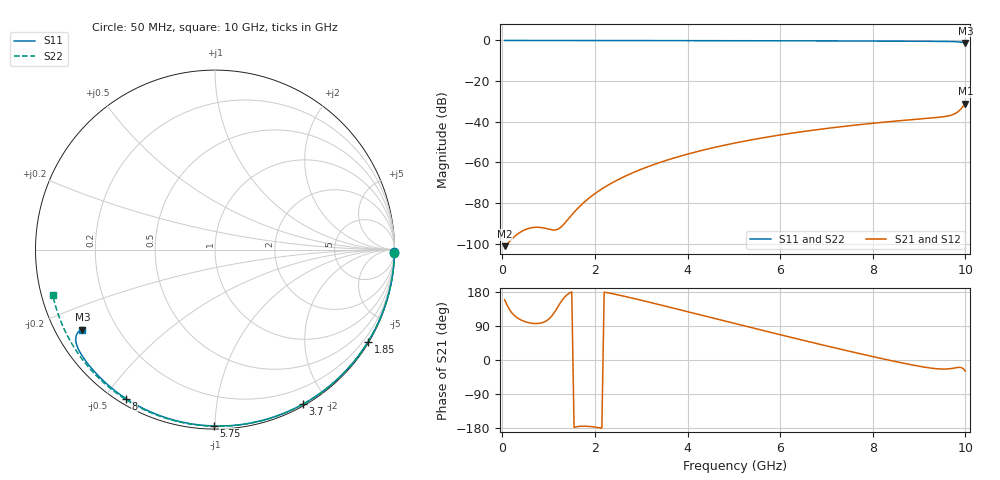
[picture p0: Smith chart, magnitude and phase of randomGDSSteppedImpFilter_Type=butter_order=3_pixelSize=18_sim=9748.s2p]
! freq	dB(S11)	phase(S11)	dB(S12)	phase(S12)
!  dB(S21)	phase(S21)	dB(S22)	phase(S22)
!S-par simulation data
#  GHz  S  DB  R 50
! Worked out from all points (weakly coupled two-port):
!   200 points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, 50 MHz to 10 GHz, reference 50 ohm
!   highest |S21| = -31.08 dB at 10 GHz (marker M1); lowest = -101.2 dB at 50 MHz (marker M2)
!   lowest |S11| = -1.3 dB at 10 GHz (marker M3), VSWR 13.65, Z = 3.95 - j13.9 ohm
!   |S11| at or under -10 dB: nowhere
!   |S22| runs from -0.5 to 0.0 dB; largest |S21 - S12| = 0
!   S11 on the Smith chart (normalised r, x): 50 MHz: open; 1.85 GHz: 0.03, -3.61; 3.7 GHz: 0.02, -1.72; 5.75 GHz: 0.02, -0.99; 8 GHz: 0.02, -0.57; 10 GHz: 0.08, -0.28
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0.05  -0.00 -0.8  -101.22 159.1  -101.22 159.1  -0.00 -1.0
0.85  -0.01 -14.4  -92.09 98.0  -92.09 98.0  -0.02 -16.3
1.75  -0.04 -29.3  -79.95 -174.7  -79.95 -174.7  -0.04 -33.1
1.85  -0.04 -31.0  -77.99 -175.1  -77.99 -175.1  -0.04 -34.9
2.15  -0.05 -35.9  -73.05 -179.7  -73.05 -179.7  -0.05 -40.4
2.5  -0.05 -41.5  -68.50 171.8  -68.50 171.8  -0.06 -46.7
2.9  -0.06 -47.9  -64.31 160.6  -64.31 160.6  -0.07 -53.9
3.4  -0.07 -55.7  -60.06 145.8  -60.06 145.8  -0.08 -62.6
3.7  -0.08 -60.4  -57.89 136.7  -57.89 136.7  -0.09 -67.7
4.35  -0.10 -70.2  -53.87 116.9  -53.87 116.9  -0.11 -78.6
5.05  -0.12 -80.4  -50.34 95.5  -50.34 95.5  -0.14 -90.0
5.75  -0.15 -90.4  -47.42 74.3  -47.42 74.3  -0.17 -101.0
6.7  -0.20 -103.5  -44.19 46.0  -44.19 46.0  -0.22 -115.5
7.35  -0.24 -112.2  -42.35 27.2  -42.35 27.2  -0.27 -125.2
8  -0.29 -120.8  -40.75 9.0  -40.75 9.0  -0.32 -134.8
8.35  -0.32 -125.5  -39.97 -0.5  -39.97 -0.5  -0.36 -139.9
9.1  -0.40 -135.4  -38.47 -18.6  -38.47 -18.6  -0.44 -150.9
9.65  -0.51 -143.5  -37.03 -23.2  -37.03 -23.2  -0.50 -159.1
9.75  -0.57 -145.3  -36.29 -21.4  -36.29 -21.4  -0.52 -160.6
9.85  -0.70 -147.3  -34.89 -19.4  -34.89 -19.4  -0.53 -162.1
9.95  -1.03 -149.0  -32.45 -22.4  -32.45 -22.4  -0.54 -163.5
10  -1.28 -148.8  -31.08 -29.3  -31.08 -29.3  -0.54 -164.2
